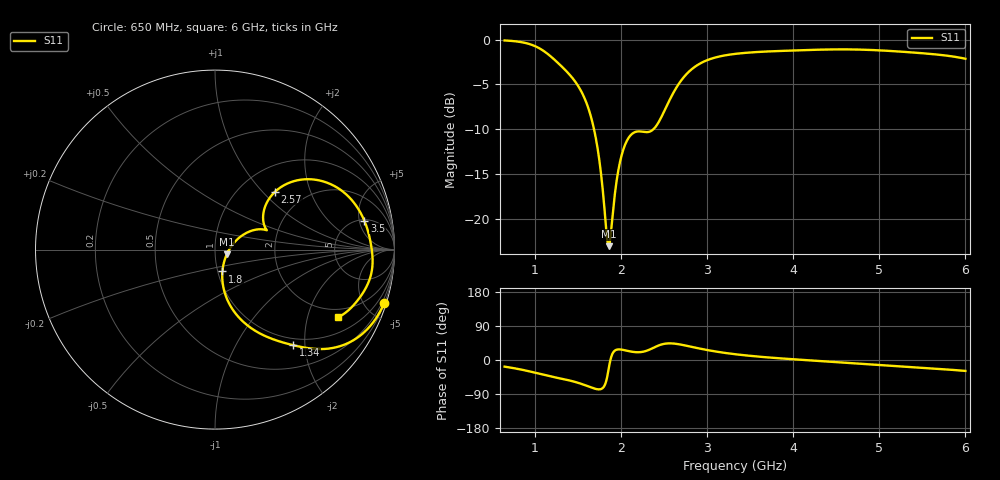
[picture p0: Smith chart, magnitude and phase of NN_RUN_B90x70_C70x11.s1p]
! IGNION VIRTUAL ANTENNA LIBRARY
! NN_RUN_B90x70_C70x11
! Virtual Antenna™ RUN mXTEND™: NN02-224 12.0 mm x 3.0 mm x 2.4 mm
! https://ignion.io/product/run-mxtend/
! Board: 90 mm x 70 mm
! Clearance Area: 70 mm x 11 mm
! Feeding line: L-shape; 11mm x 2mm and 5mm x 2mm
! Applications: Fleet management, IoT
! Frequency range 0.65GHz to 6GHz, step 10MHz
! Number of ports 1
! This product and its use is protected by at least one or more of the following patents and patent
! applications US 8,203,492 B2; US 8,237,615 B2; PCT/EP2013/064692; WO 2014/012842 A1; US 2019/190122 A1;
! US 62/072,671; and other domestic and international patents pending. Additional information about
! patents related to this product is available at https://ignion.io/files/Patent-list-NN.pdf, all
! rights reserved. Copyright, Ignion 2021.
! Need more help? Your platform is much different than these examples in the manual? Use our
! Fast Track service (https://ignion.io/fast-track/), for free, and get a personalized antenna design in
! just 24 hours.
! Touchstone port 1 = "Series Port"
! IE3D S-Parameters Output Version 2.0
# GHZ S MA R 50
! Nport = 1
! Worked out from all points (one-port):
!   536 points, 650 MHz to 6 GHz, reference 50 ohm
!   lowest |S11| = -23.0 dB at 1.86 GHz (marker M1), VSWR 1.15, Z = 57 - j2.93 ohm
!   |S11| at or under -10 dB: 1.689 GHz to 2.376 GHz (687.4 MHz wide, 33.8 % of centre)
!   S11 on the Smith chart (normalised r, x): 650 MHz: 0.25, -6.48; 1.34 GHz: 0.87, -1.77; 1.8 GHz: 1.05, -0.26; 2.57 GHz: 1.43, +1.18; 3.5 GHz: 5.17, +5.94; 6 GHz: 1.61, -3.13
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0.65  0.9886 -17.5
0.87  0.9623 -26.6
1.06  0.8906 -36.7
1.32  0.7028 -49.8
1.34  0.6876 -50.8
1.52  0.5356 -61.4
1.64  0.3902 -71.2
1.73  0.2473 -77.3
1.8  0.1287 -71.2
1.84  0.07797 -45.8
1.86  0.0708 -21.2
1.88  0.08051 1.5
1.95  0.163 27.1
1.99  0.2086 27.9
2.05  0.2608 25.5
2.11  0.2924 22.6
2.3  0.3053 24.5
2.41  0.3303 35.6
2.57  0.4651 43.9
2.66  0.5552 42.0
2.8  0.6694 35.8
2.98  0.7602 27.3
3.33  0.8326 15.2
3.5  0.8473 11.0
4  0.8692 2.0
4.67  0.8812 -8.2
5.34  0.8507 -18.1
6  0.782 -28.8
